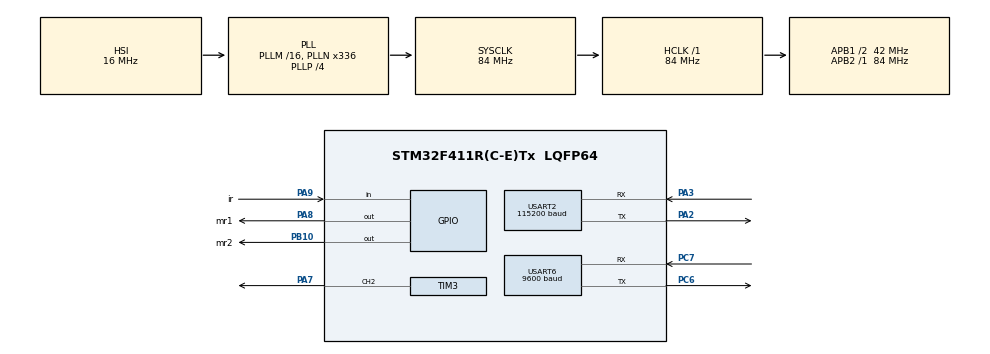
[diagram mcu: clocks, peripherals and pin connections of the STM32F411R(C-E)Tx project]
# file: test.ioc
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Dma.Request0=USART6_RX
Dma.USART6_RX.0.Direction=DMA_PERIPH_TO_MEMORY
Dma.USART6_RX.0.FIFOMode=DMA_FIFOMODE_DISABLE
Dma.USART6_RX.0.Instance=DMA2_Stream1
Dma.USART6_RX.0.MemDataAlignment=DMA_MDATAALIGN_WORD
Dma.USART6_RX.0.MemInc=DMA_MINC_ENABLE
Dma.USART6_RX.0.Mode=DMA_NORMAL
Dma.USART6_RX.0.PeriphDataAlignment=DMA_PDATAALIGN_WORD
Dma.USART6_RX.0.PeriphInc=DMA_PINC_DISABLE
Dma.USART6_RX.0.Priority=DMA_PRIORITY_MEDIUM
Mcu.Family=STM32F4
Mcu.Name=STM32F411R(C-E)Tx
Mcu.Package=LQFP64
NVIC.DMA2_Stream1_IRQn=true\:0\:0\:false\:false\:true\:false\:true\:true
NVIC.PriorityGroup=NVIC_PRIORITYGROUP_4
NVIC.USART2_IRQn=true\:0\:0\:false\:false\:true\:true\:true\:true
NVIC.USART6_IRQn=true\:0\:0\:false\:false\:true\:true\:true\:true
PA13.Mode=Serial_Wire
PA13.Signal=SYS_JTMS-SWDIO
PA14.Mode=Serial_Wire
PA14.Signal=SYS_JTCK-SWCLK
PA2.Mode=Asynchronous
PA2.Signal=USART2_TX
PA3.Mode=Asynchronous
PA3.Signal=USART2_RX
PA7.Signal=S_TIM3_CH2
PA8.GPIO_Label=mr1
PA8.Signal=GPIO_Output
PA9.GPIO_Label=ir
PA9.Signal=GPIO_Input
PB10.GPIO_Label=mr2
PB10.Signal=GPIO_Output
PC6.Mode=Asynchronous
PC6.Signal=USART6_TX
PC7.Mode=Asynchronous
PC7.Signal=USART6_RX
PH0\ -\ OSC_IN.Mode=HSE-External-Oscillator
PH0\ -\ OSC_IN.Signal=RCC_OSC_IN
PH1\ -\ OSC_OUT.Mode=HSE-External-Oscillator
PH1\ -\ OSC_OUT.Signal=RCC_OSC_OUT
ProjectManager.HeapSize=0x200
ProjectManager.StackSize=0x400
ProjectManager.TargetToolchain=STM32CubeIDE
RCC.48MHZClocksFreq_Value=84000000
RCC.AHBFreq_Value=84000000
RCC.APB1CLKDivider=RCC_HCLK_DIV2
RCC.APB1Freq_Value=42000000
RCC.APB1TimFreq_Value=84000000
RCC.APB2Freq_Value=84000000
RCC.APB2TimFreq_Value=84000000
RCC.CortexFreq_Value=84000000
RCC.HCLKFreq_Value=84000000
RCC.HSE_VALUE=25000000
RCC.HSI_VALUE=16000000
RCC.LSE_VALUE=32768
RCC.PLLN=336
RCC.PLLP=RCC_PLLP_DIV4
RCC.SYSCLKFreq_VALUE=84000000
RCC.SYSCLKSource=RCC_SYSCLKSOURCE_PLLCLK
RCC.VCOOutputFreq_Value=336000000
SH.S_TIM3_CH2.0=TIM3_CH2,PWM Generation2 CH2
TIM3.Channel-PWM\ Generation2\ CH2=TIM_CHANNEL_2
TIM3.Period=255
TIM3.Prescaler=84
TIM3.Pulse-PWM\ Generation2\ CH2=255
USART2.BaudRate=115200
USART2.VirtualMode=VM_ASYNC
USART6.BaudRate=9600
USART6.VirtualMode=VM_ASYNC
VP_TIM3_VS_ClockSourceINT.Mode=Internal
board=custom

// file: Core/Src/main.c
/* USER CODE BEGIN Header */
/**
  ******************************************************************************
  * @file           : main.c
  * @brief          : Main program body
  ******************************************************************************
  * @attention
  *
  * Copyright (c) 2023 STMicroelectronics.
  * All rights reserved.
  *
  * This software is licensed under terms that can be found in the LICENSE file
  * in the root directory of this software component.
  * If no LICENSE file comes with this software, it is provided AS-IS.
  *
  ******************************************************************************
  */
/* USER CODE END Header */
#include "main.h"

/* USER CODE BEGIN PD */
#define MOTOR_LEFT_PIN GPIO_PIN_2
#define MOTOR_RIGHT_PIN GPIO_PIN_3
#define MOTOR_PORT GPIOA
#define IR_SENSOR_PIN GPIO_PIN_4
/* USER CODE END PD */

/* USER CODE BEGIN PM */
unsigned char  RX_BUFFER[10];
/* USER CODE END PM */

TIM_HandleTypeDef htim3;

UART_HandleTypeDef huart2;
UART_HandleTypeDef huart6;
DMA_HandleTypeDef hdma_usart6_rx;

void SystemClock_Config(void);
static void MX_GPIO_Init(void);
static void MX_DMA_Init(void);
static void MX_USART6_UART_Init(void);
static void MX_USART2_UART_Init(void);
static void MX_TIM3_Init(void);

/* USER CODE BEGIN 0 */
#define BUFFER_SIZE 100
char rx_data[] = "";

void myCallback(UART_HandleTypeDef *huart);
void convertdata_6digit(char* data);
/* USER CODE END 0 */

int main(void)
{

  /* MCU Configuration--------------------------------------------------------*/

  /* Reset of all peripherals, Initializes the Flash interface and the Systick. */
  HAL_Init();

  /* Configure the system clock */
  SystemClock_Config();

  /* Initialize all configured peripherals */
  MX_GPIO_Init();
  MX_DMA_Init();
  MX_USART6_UART_Init();
  MX_USART2_UART_Init();
  MX_TIM3_Init();
  /* USER CODE BEGIN 2 */

  int speed_motor = 255;

  int gap = 10;

  int point0 =0;
  int point1 =36;
  int point2 =72;
  int point3 =108;
  int point4 =144;
  int point5 =180;
  int point6 =216;
  int point7 =252;
  int point8 =288;
  int point9 =324;

int input = 0;

  uint8_t rx_buffer[4];
  uint8_t serial_input[4] = "0";

  char bufdata[60];

  char aoaBuffer[10]; // เปลี่ยนเป็นอาร์เรย์ char เพื่อเ�?็บข้อมูล AOA
  char aoaBuffer_data[10];
  char aoaBuffer_data_value[10];
  int aoaIndex = 0;
  /* USER CODE END 2 */

  /* Infinite loop */
  /* USER CODE BEGIN WHILE */

  HAL_TIM_PWM_Start(&htim3, TIM_CHANNEL_2);
  TIM3->CCR2 = speed_motor;

  while (1)
  {

	  HAL_StatusTypeDef status_huart2 = HAL_UART_Receive(&huart2, (uint8_t *)&serial_input, 1, 0);

	  if (status_huart2 == HAL_OK || status_huart2 == HAL_TIMEOUT) {
	      // Data received from huart2 or timeout occurred
		  char* string_serial = (char*) &serial_input;
		  int serial_int = atoi(string_serial);

		  /*if(serial_int == 1){
			  HAL_UART_Transmit(&huart2, string_serial,sizeof(string_serial), 10);
		  }*/

	      // Attempt to receive data from huart6
	      if (HAL_UART_Receive(&huart6, (uint8_t *)&rx_buffer, 1, 10) == HAL_OK) {

	    	  char* string = (char*) &rx_buffer;

	    			if (string[0] == 10)
	    			{

	    			  int sizebuffer = 0;
	    			 for(int a = 6; a< aoaIndex ; a++){
	    				aoaBuffer_data[a-6] = aoaBuffer[a];
	    				sizebuffer++;
	    			 }
	    			 aoaBuffer_data[sizebuffer] = '\0';

	    			 if(sizebuffer == 6){
	    				 aoaBuffer_data_value[0] = '0';
	    				 aoaBuffer_data_value[1] = aoaBuffer_data[0];
	    				 aoaBuffer_data_value[2] = aoaBuffer_data[1];
	    				 aoaBuffer_data_value[3] = aoaBuffer_data[2];
	    				 aoaBuffer_data_value[4] = aoaBuffer_data[3];
	    				 aoaBuffer_data_value[5] = aoaBuffer_data[4];
	    				 aoaBuffer_data_value[6] = aoaBuffer_data[5];
	    			 }
	    			 else if(sizebuffer == 5){
	    				 aoaBuffer_data_value[0] = '0';
	    				 aoaBuffer_data_value[1] = '0';
	    				 aoaBuffer_data_value[2] = aoaBuffer_data[0];
	    				 aoaBuffer_data_value[3] = aoaBuffer_data[1];
	    				 aoaBuffer_data_value[4] = aoaBuffer_data[2];
	    				 aoaBuffer_data_value[5] = aoaBuffer_data[3];
	    				 aoaBuffer_data_value[6] = aoaBuffer_data[4];
	    			 }
	    			 else{
	    				 strcpy(aoaBuffer_data_value,aoaBuffer_data);
	    			 }

	    			 int DDD = ((aoaBuffer_data_value[0]-48) * 100) + ((aoaBuffer_data_value[1]-48) * 10)+ ((aoaBuffer_data_value[2]-48) * 1);
	    			 int DDD2 = ((aoaBuffer_data_value[4]-48) * 100) + ((aoaBuffer_data_value[5]-48) * 10)+ ((aoaBuffer_data_value[6]-48) * 1);

	    			  aoaIndex = 0; // เริ่มต้นตัวชี้อาร์เรย์ใหม่

	    			  //sprintf(bufterkak, "size = %d : data = %s : value = %.2f \n", sizebuffer,aoaBuffer_data_value,AOA );
	    			  sprintf(bufdata, "data = : %d:%d \n",DDD,speed_motor );
	    			 HAL_UART_Transmit(&huart2, bufdata,sizeof(bufdata), 10);
	    			  //HAL_UART_Transmit(&huart2, aoaBuffer_data,sizeof(aoaBuffer_data), 10);

	    			  if(serial_int == 0){
	    				  if(DDD > point0 && DDD < point0+gap){
	    					  HAL_GPIO_WritePin(mr1_GPIO_Port, mr1_Pin, 1);
	    					  HAL_GPIO_WritePin(mr2_GPIO_Port, mr2_Pin, 1);
	    				  }else if (DDD > point0){
	    					   HAL_GPIO_WritePin(mr1_GPIO_Port, mr1_Pin, 1);
    					       HAL_GPIO_WritePin(mr2_GPIO_Port, mr2_Pin, 0);
	    				  }
	    			  }
	    			  else if(serial_int == 1){
	    				  if(DDD > point1-gap && DDD < point1+gap){
	    					  HAL_GPIO_WritePin(mr1_GPIO_Port, mr1_Pin, 1);
	    					  HAL_GPIO_WritePin(mr2_GPIO_Port, mr2_Pin, 1);
	    				  }else if (DDD > point1){
	    					  HAL_GPIO_WritePin(mr1_GPIO_Port, mr1_Pin, 1);
    					      HAL_GPIO_WritePin(mr2_GPIO_Port, mr2_Pin, 0);
	    				  }else if (DDD < point1){
	    					  HAL_GPIO_WritePin(mr1_GPIO_Port, mr1_Pin, 0);
    					      HAL_GPIO_WritePin(mr2_GPIO_Port, mr2_Pin, 1);
	    				  }

	    			  }
	    			  else if(serial_int == 2){
	    				  if(DDD > point2-gap && DDD < point2+gap){
	    					  HAL_GPIO_WritePin(mr1_GPIO_Port, mr1_Pin, 1);
	    					  HAL_GPIO_WritePin(mr2_GPIO_Port, mr2_Pin, 1);
	    				  }else if (DDD > point2){
	    					  HAL_GPIO_WritePin(mr1_GPIO_Port, mr1_Pin, 1);
    					      HAL_GPIO_WritePin(mr2_GPIO_Port, mr2_Pin, 0);
	    				  }else if (DDD < point2){
	    					  HAL_GPIO_WritePin(mr1_GPIO_Port, mr1_Pin, 0);
    					      HAL_GPIO_WritePin(mr2_GPIO_Port, mr2_Pin, 1);
	    				  }
	    			  }
	    			  else if(serial_int == 3){
	    				  if(DDD > point3-gap && DDD < point3+gap){
	    					  HAL_GPIO_WritePin(mr1_GPIO_Port, mr1_Pin, 1);
	    					  HAL_GPIO_WritePin(mr2_GPIO_Port, mr2_Pin, 1);
	    				  }else if (DDD > point3){
	    					  HAL_GPIO_WritePin(mr1_GPIO_Port, mr1_Pin, 1);
    					      HAL_GPIO_WritePin(mr2_GPIO_Port, mr2_Pin, 0);
	    				  }else if (DDD < point3){
	    					  HAL_GPIO_WritePin(mr1_GPIO_Port, mr1_Pin, 0);
    					      HAL_GPIO_WritePin(mr2_GPIO_Port, mr2_Pin, 1);
	    				  }
	    			  }
	    			  else if(serial_int == 4){
	    				  if(DDD > point4-gap && DDD < point4+gap){
	    					  HAL_GPIO_WritePin(mr1_GPIO_Port, mr1_Pin, 1);
	    					  HAL_GPIO_WritePin(mr2_GPIO_Port, mr2_Pin, 1);
	    				  }else if (DDD > point4){
	    					  HAL_GPIO_WritePin(mr1_GPIO_Port, mr1_Pin, 1);
    					      HAL_GPIO_WritePin(mr2_GPIO_Port, mr2_Pin, 0);
	    				  }else if (DDD < point4){
	    					  HAL_GPIO_WritePin(mr1_GPIO_Port, mr1_Pin, 0);
    					      HAL_GPIO_WritePin(mr2_GPIO_Port, mr2_Pin, 1);
	    				  }
	    			  }
	    			  else if(serial_int == 5){
	    				  if(DDD > point5-gap && DDD < point5+gap){
	    					  HAL_GPIO_WritePin(mr1_GPIO_Port, mr1_Pin, 1);
	    					  HAL_GPIO_WritePin(mr2_GPIO_Port, mr2_Pin, 1);
	    				  }else if (DDD > point5){
	    					  HAL_GPIO_WritePin(mr1_GPIO_Port, mr1_Pin, 1);
    					      HAL_GPIO_WritePin(mr2_GPIO_Port, mr2_Pin, 0);
	    				  }else if (DDD < point5){
	    					  HAL_GPIO_WritePin(mr1_GPIO_Port, mr1_Pin, 0);
    					      HAL_GPIO_WritePin(mr2_GPIO_Port, mr2_Pin, 1);
	    				  }
	    			  }
	    			  else if(serial_int == 6){
	    				  if(DDD > point6-gap && DDD < point6+gap){
	    					  HAL_GPIO_WritePin(mr1_GPIO_Port, mr1_Pin, 1);
	    					  HAL_GPIO_WritePin(mr2_GPIO_Port, mr2_Pin, 1);
	    				  }else if (DDD > point6){
	    					  HAL_GPIO_WritePin(mr1_GPIO_Port, mr1_Pin, 1);
    					      HAL_GPIO_WritePin(mr2_GPIO_Port, mr2_Pin, 0);
	    				  }else if (DDD < point6){
	    					  HAL_GPIO_WritePin(mr1_GPIO_Port, mr1_Pin, 0);
    					      HAL_GPIO_WritePin(mr2_GPIO_Port, mr2_Pin, 1);
	    				  }
	    			  }
	    			  else if(serial_int == 7){
	    				  if(DDD > point7-gap && DDD < point7+gap){
	    					  HAL_GPIO_WritePin(mr1_GPIO_Port, mr1_Pin, 1);
	    					  HAL_GPIO_WritePin(mr2_GPIO_Port, mr2_Pin, 1);
	    				  }else if (DDD > point7){
	    					  HAL_GPIO_WritePin(mr1_GPIO_Port, mr1_Pin, 1);
    					      HAL_GPIO_WritePin(mr2_GPIO_Port, mr2_Pin, 0);
	    				  }else if (DDD < point7){
	    					  HAL_GPIO_WritePin(mr1_GPIO_Port, mr1_Pin, 0);
    					      HAL_GPIO_WritePin(mr2_GPIO_Port, mr2_Pin, 1);
	    				  }
	    			  }
	    			  else if(serial_int == 8){
	    				  if(DDD > point8-gap && DDD < point8+gap){
	    					  HAL_GPIO_WritePin(mr1_GPIO_Port, mr1_Pin, 1);
	    					  HAL_GPIO_WritePin(mr2_GPIO_Port, mr2_Pin, 1);
	    				  }else if (DDD > point8){
	    					  HAL_GPIO_WritePin(mr1_GPIO_Port, mr1_Pin, 1);
    					      HAL_GPIO_WritePin(mr2_GPIO_Port, mr2_Pin, 0);
	    				  }else if (DDD < point8){
	    					  HAL_GPIO_WritePin(mr1_GPIO_Port, mr1_Pin, 0);
    					      HAL_GPIO_WritePin(mr2_GPIO_Port, mr2_Pin, 1);
	    				  }
	    			  }
	    			  else if(serial_int == 9){
	    				  if(DDD > point9-gap && DDD < point9+gap){
	    					  HAL_GPIO_WritePin(mr1_GPIO_Port, mr1_Pin, 1);
	    					  HAL_GPIO_WritePin(mr2_GPIO_Port, mr2_Pin, 1);
	    				  }else if (DDD > point9){
	    					  HAL_GPIO_WritePin(mr1_GPIO_Port, mr1_Pin, 1);
    					      HAL_GPIO_WritePin(mr2_GPIO_Port, mr2_Pin, 0);
	    				  }else if (DDD < point9){
	    					  HAL_GPIO_WritePin(mr1_GPIO_Port, mr1_Pin, 0);
    					      HAL_GPIO_WritePin(mr2_GPIO_Port, mr2_Pin, 1);
	    				  }
	    			  }

	    			  for(int b = 0; b< sizeof(aoaBuffer_data) ; b++){
	    				  aoaBuffer_data[b] = 0;
	    			  }
	    			}
	    			else if(string[0] == 13){

	    			}
	    			else{
	    				aoaBuffer[aoaIndex++] = string[0];
	    			}
	    		  }
	  } else {
	      // No data received from huart2
	      // Handle the case when no data is received from huart2
	      // You can put additional code here if needed
	  }
  /* USER CODE END 3 */
}
}

void SystemClock_Config(void)
{
  RCC_OscInitTypeDef RCC_OscInitStruct = {0};
  RCC_ClkInitTypeDef RCC_ClkInitStruct = {0};

  /** Configure the main internal regulator output voltage
  */
  __HAL_RCC_PWR_CLK_ENABLE();
  __HAL_PWR_VOLTAGESCALING_CONFIG(PWR_REGULATOR_VOLTAGE_SCALE1);

  /** Initializes the RCC Oscillators according to the specified parameters
  * in the RCC_OscInitTypeDef structure.
  */
  RCC_OscInitStruct.OscillatorType = RCC_OSCILLATORTYPE_HSI;
  RCC_OscInitStruct.HSIState = RCC_HSI_ON;
  RCC_OscInitStruct.HSICalibrationValue = RCC_HSICALIBRATION_DEFAULT;
  RCC_OscInitStruct.PLL.PLLState = RCC_PLL_ON;
  RCC_OscInitStruct.PLL.PLLSource = RCC_PLLSOURCE_HSI;
  RCC_OscInitStruct.PLL.PLLM = 16;
  RCC_OscInitStruct.PLL.PLLN = 336;
  RCC_OscInitStruct.PLL.PLLP = RCC_PLLP_DIV4;
  RCC_OscInitStruct.PLL.PLLQ = 4;
  if (HAL_RCC_OscConfig(&RCC_OscInitStruct) != HAL_OK)
  {
    Error_Handler();
  }

  /** Initializes the CPU, AHB and APB buses clocks
  */
  RCC_ClkInitStruct.ClockType = RCC_CLOCKTYPE_HCLK|RCC_CLOCKTYPE_SYSCLK
                              |RCC_CLOCKTYPE_PCLK1|RCC_CLOCKTYPE_PCLK2;
  RCC_ClkInitStruct.SYSCLKSource = RCC_SYSCLKSOURCE_PLLCLK;
  RCC_ClkInitStruct.AHBCLKDivider = RCC_SYSCLK_DIV1;
  RCC_ClkInitStruct.APB1CLKDivider = RCC_HCLK_DIV2;
  RCC_ClkInitStruct.APB2CLKDivider = RCC_HCLK_DIV1;

  if (HAL_RCC_ClockConfig(&RCC_ClkInitStruct, FLASH_LATENCY_2) != HAL_OK)
  {
    Error_Handler();
  }
}

static void MX_TIM3_Init(void)
{

  TIM_ClockConfigTypeDef sClockSourceConfig = {0};
  TIM_MasterConfigTypeDef sMasterConfig = {0};
  TIM_OC_InitTypeDef sConfigOC = {0};

  htim3.Instance = TIM3;
  htim3.Init.Prescaler = 84;
  htim3.Init.CounterMode = TIM_COUNTERMODE_UP;
  htim3.Init.Period = 255;
  htim3.Init.ClockDivision = TIM_CLOCKDIVISION_DIV1;
  htim3.Init.AutoReloadPreload = TIM_AUTORELOAD_PRELOAD_DISABLE;
  if (HAL_TIM_Base_Init(&htim3) != HAL_OK)
  {
    Error_Handler();
  }
  sClockSourceConfig.ClockSource = TIM_CLOCKSOURCE_INTERNAL;
  if (HAL_TIM_ConfigClockSource(&htim3, &sClockSourceConfig) != HAL_OK)
  {
    Error_Handler();
  }
  if (HAL_TIM_PWM_Init(&htim3) != HAL_OK)
  {
    Error_Handler();
  }
  sMasterConfig.MasterOutputTrigger = TIM_TRGO_RESET;
  sMasterConfig.MasterSlaveMode = TIM_MASTERSLAVEMODE_DISABLE;
  if (HAL_TIMEx_MasterConfigSynchronization(&htim3, &sMasterConfig) != HAL_OK)
  {
    Error_Handler();
  }
  sConfigOC.OCMode = TIM_OCMODE_PWM1;
  sConfigOC.Pulse = 255;
  sConfigOC.OCPolarity = TIM_OCPOLARITY_HIGH;
  sConfigOC.OCFastMode = TIM_OCFAST_DISABLE;
  if (HAL_TIM_PWM_ConfigChannel(&htim3, &sConfigOC, TIM_CHANNEL_2) != HAL_OK)
  {
    Error_Handler();
  }
  HAL_TIM_MspPostInit(&htim3);

}

static void MX_USART2_UART_Init(void)
{

  huart2.Instance = USART2;
  huart2.Init.BaudRate = 115200;
  huart2.Init.WordLength = UART_WORDLENGTH_8B;
  huart2.Init.StopBits = UART_STOPBITS_1;
  huart2.Init.Parity = UART_PARITY_NONE;
  huart2.Init.Mode = UART_MODE_TX_RX;
  huart2.Init.HwFlowCtl = UART_HWCONTROL_NONE;
  huart2.Init.OverSampling = UART_OVERSAMPLING_16;
  if (HAL_UART_Init(&huart2) != HAL_OK)
  {
    Error_Handler();
  }

}

static void MX_USART6_UART_Init(void)
{

  huart6.Instance = USART6;
  huart6.Init.BaudRate = 9600;
  huart6.Init.WordLength = UART_WORDLENGTH_8B;
  huart6.Init.StopBits = UART_STOPBITS_1;
  huart6.Init.Parity = UART_PARITY_NONE;
  huart6.Init.Mode = UART_MODE_TX_RX;
  huart6.Init.HwFlowCtl = UART_HWCONTROL_NONE;
  huart6.Init.OverSampling = UART_OVERSAMPLING_16;
  if (HAL_UART_Init(&huart6) != HAL_OK)
  {
    Error_Handler();
  }

}

static void MX_DMA_Init(void)
{

  /* DMA controller clock enable */
  __HAL_RCC_DMA2_CLK_ENABLE();

  /* DMA interrupt init */
  /* DMA2_Stream1_IRQn interrupt configuration */
  HAL_NVIC_SetPriority(DMA2_Stream1_IRQn, 0, 0);
  HAL_NVIC_EnableIRQ(DMA2_Stream1_IRQn);

}

static void MX_GPIO_Init(void)
{
  GPIO_InitTypeDef GPIO_InitStruct = {0};

  /* GPIO Ports Clock Enable */
  __HAL_RCC_GPIOH_CLK_ENABLE();
  __HAL_RCC_GPIOA_CLK_ENABLE();
  __HAL_RCC_GPIOB_CLK_ENABLE();
  __HAL_RCC_GPIOC_CLK_ENABLE();

  /*Configure GPIO pin Output Level */
  HAL_GPIO_WritePin(mr2_GPIO_Port, mr2_Pin, GPIO_PIN_RESET);

  /*Configure GPIO pin Output Level */
  HAL_GPIO_WritePin(mr1_GPIO_Port, mr1_Pin, GPIO_PIN_RESET);

  /*Configure GPIO pin : mr2_Pin */
  GPIO_InitStruct.Pin = mr2_Pin;
  GPIO_InitStruct.Mode = GPIO_MODE_OUTPUT_PP;
  GPIO_InitStruct.Pull = GPIO_NOPULL;
  GPIO_InitStruct.Speed = GPIO_SPEED_FREQ_LOW;
  HAL_GPIO_Init(mr2_GPIO_Port, &GPIO_InitStruct);

  /*Configure GPIO pin : mr1_Pin */
  GPIO_InitStruct.Pin = mr1_Pin;
  GPIO_InitStruct.Mode = GPIO_MODE_OUTPUT_PP;
  GPIO_InitStruct.Pull = GPIO_NOPULL;
  GPIO_InitStruct.Speed = GPIO_SPEED_FREQ_LOW;
  HAL_GPIO_Init(mr1_GPIO_Port, &GPIO_InitStruct);

  /*Configure GPIO pin : ir_Pin */
  GPIO_InitStruct.Pin = ir_Pin;
  GPIO_InitStruct.Mode = GPIO_MODE_INPUT;
  GPIO_InitStruct.Pull = GPIO_NOPULL;
  HAL_GPIO_Init(ir_GPIO_Port, &GPIO_InitStruct);

}

void Error_Handler(void)
{
  __disable_irq();
  while (1)
  {
  }
}
